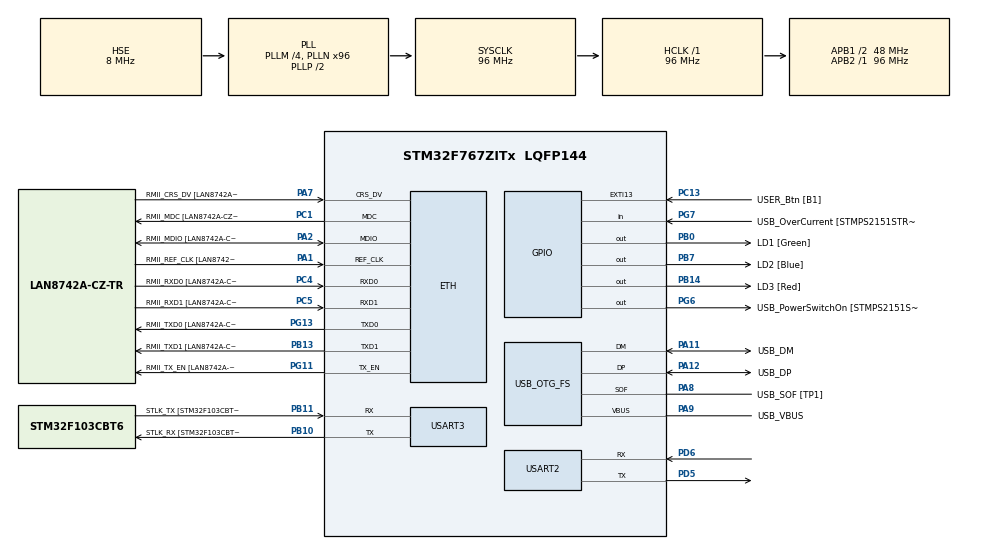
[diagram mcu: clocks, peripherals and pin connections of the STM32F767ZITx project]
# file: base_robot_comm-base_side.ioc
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ETH.MediaInterface=HAL_ETH_RMII_MODE
ETH.PHY_Name=LAN8742A_PHY_ADDRESS
ETH.PHY_Value=0
ETH.PhyAddress=0
Mcu.Family=STM32F7
Mcu.Name=STM32F767ZITx
Mcu.Package=LQFP144
NVIC.PriorityGroup=NVIC_PRIORITYGROUP_4
NVIC.USART2_IRQn=true\:0\:0\:false\:false\:true\:true\:true\:true
NVIC.USART3_IRQn=true\:0\:0\:false\:false\:true\:true\:true\:true
PA1.GPIO_Label=RMII_REF_CLK [LAN8742A-CZ-TR_REFCLK0]
PA1.Mode=RMII
PA1.Signal=ETH_REF_CLK
PA10.GPIO_Label=USB_ID
PA10.Signal=USB_OTG_FS_ID
PA11.GPIO_Label=USB_DM
PA11.Mode=Device_Only
PA11.Signal=USB_OTG_FS_DM
PA12.GPIO_Label=USB_DP
PA12.Mode=Device_Only
PA12.Signal=USB_OTG_FS_DP
PA13.GPIO_Label=TMS
PA13.Mode=Serial_Wire
PA13.Signal=SYS_JTMS-SWDIO
PA14.GPIO_Label=TCK
PA14.Mode=Serial_Wire
PA14.Signal=SYS_JTCK-SWCLK
PA2.GPIO_Label=RMII_MDIO [LAN8742A-CZ-TR_MDIO]
PA2.Mode=RMII
PA2.Signal=ETH_MDIO
PA7.GPIO_Label=RMII_CRS_DV [LAN8742A-CZ-TR_CRS_DV]
PA7.Mode=RMII
PA7.Signal=ETH_CRS_DV
PA8.GPIO_Label=USB_SOF [TP1]
PA8.Mode=Activate_SOF_FS
PA8.Signal=USB_OTG_FS_SOF
PA9.GPIO_Label=USB_VBUS
PA9.Mode=Activate_VBUS
PA9.Signal=USB_OTG_FS_VBUS
PB0.GPIO_Label=LD1 [Green]
PB0.Signal=GPIO_Output
PB10.GPIO_Label=STLK_RX [STM32F103CBT6_PA3]
PB10.Mode=Asynchronous
PB10.Signal=USART3_TX
PB11.GPIO_Label=STLK_TX [STM32F103CBT6_PA2]
PB11.Mode=Asynchronous
PB11.Signal=USART3_RX
PB13.GPIO_Label=RMII_TXD1 [LAN8742A-CZ-TR_TXD1]
PB13.Mode=RMII
PB13.Signal=ETH_TXD1
PB14.GPIO_Label=LD3 [Red]
PB14.Signal=GPIO_Output
PB3.GPIO_Label=SWO
PB3.Signal=SYS_JTDO-SWO
PB7.GPIO_Label=LD2 [Blue]
PB7.Signal=GPIO_Output
PC1.GPIO_Label=RMII_MDC [LAN8742A-CZ-TR_MDC]
PC1.Mode=RMII
PC1.Signal=ETH_MDC
PC13.GPIO_Label=USER_Btn [B1]
PC13.Signal=GPXTI13
PC14/OSC32_IN.Mode=LSE-External-Oscillator
PC14/OSC32_IN.Signal=RCC_OSC32_IN
PC15/OSC32_OUT.Mode=LSE-External-Oscillator
PC15/OSC32_OUT.Signal=RCC_OSC32_OUT
PC4.GPIO_Label=RMII_RXD0 [LAN8742A-CZ-TR_RXD0]
PC4.Mode=RMII
PC4.Signal=ETH_RXD0
PC5.GPIO_Label=RMII_RXD1 [LAN8742A-CZ-TR_RXD1]
PC5.Mode=RMII
PC5.Signal=ETH_RXD1
PD5.Mode=Asynchronous
PD5.Signal=USART2_TX
PD6.Mode=Asynchronous
PD6.Signal=USART2_RX
PG11.GPIO_Label=RMII_TX_EN [LAN8742A-CZ-TR_TXEN]
PG11.Mode=RMII
PG11.Signal=ETH_TX_EN
PG13.GPIO_Label=RMII_TXD0 [LAN8742A-CZ-TR_TXD0]
PG13.Mode=RMII
PG13.Signal=ETH_TXD0
PG6.GPIO_Label=USB_PowerSwitchOn [STMPS2151STR_EN]
PG6.Signal=GPIO_Output
PG7.GPIO_Label=USB_OverCurrent [STMPS2151STR_FAULT]
PG7.Signal=GPIO_Input
PH0/OSC_IN.GPIO_Label=MCO [STM32F103CBT6_PA8]
PH0/OSC_IN.Mode=HSE-External-Clock-Source
PH0/OSC_IN.Signal=RCC_OSC_IN
PH1/OSC_OUT.Mode=HSE-External-Clock-Source
PH1/OSC_OUT.Signal=RCC_OSC_OUT
ProjectManager.HeapSize=0x200
ProjectManager.StackSize=0x400
ProjectManager.TargetToolchain=STM32CubeIDE
RCC.48MHZClocksFreq_Value=24000000
RCC.AHBFreq_Value=96000000
RCC.APB1CLKDivider=RCC_HCLK_DIV2
RCC.APB1Freq_Value=48000000
RCC.APB1TimFreq_Value=96000000
RCC.APB2Freq_Value=96000000
RCC.APB2TimFreq_Value=96000000
RCC.CortexFreq_Value=96000000
RCC.HCLKFreq_Value=96000000
RCC.HSE_VALUE=8000000
RCC.HSI_VALUE=16000000
RCC.PLLM=4
RCC.PLLMUL=RCC_PLL_MUL9
RCC.PLLN=96
RCC.PLLQ=4
RCC.PRESCALERUSB=RCC_USBCLKSOURCE_PLL_DIV1_5
RCC.SYSCLKFreq_VALUE=96000000
RCC.SYSCLKSource=RCC_SYSCLKSOURCE_PLLCLK
RCC.SYSCLKSourceVirtual=RCC_SYSCLKSOURCE_PLLCLK
RCC.USBFreq_Value=48000000
RCC.VCOOutputFreq_Value=192000000
USART2.VirtualMode-Asynchronous=VM_ASYNC
USART3.VirtualMode-Asynchronous=VM_ASYNC
USB_OTG_FS.VirtualMode=Device_Only
board=NUCLEO-F767ZI

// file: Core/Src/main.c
/* USER CODE BEGIN Header */
/**
  ******************************************************************************
  * @file           : main.c
  * @brief          : Main program body
  ******************************************************************************
  * @attention
  *
  * Copyright (c) 2025 STMicroelectronics.
  * All rights reserved.
  *
  * This software is licensed under terms that can be found in the LICENSE file
  * in the root directory of this software component.
  * If no LICENSE file comes with this software, it is provided AS-IS.
  *
  ******************************************************************************
  */
/* USER CODE END Header */
#include "main.h"
#include "string.h"

/* USER CODE BEGIN PD */
#define BUFFER_SIZE 8
#define ROBOT_STATE_BUSY 0
#define ROBOT_STATE_READY 1
#define JETSON_STATE_BUSY 0
#define JETSON_STATE_READY 1
/* USER CODE END PD */

#if defined ( __ICCARM__ ) /*!< IAR Compiler */
#pragma location=0x2007c000
ETH_DMADescTypeDef  DMARxDscrTab[ETH_RX_DESC_CNT]; /* Ethernet Rx DMA Descriptors */
#pragma location=0x2007c0a0
ETH_DMADescTypeDef  DMATxDscrTab[ETH_TX_DESC_CNT]; /* Ethernet Tx DMA Descriptors */

#elif defined ( __CC_ARM )  /* MDK ARM Compiler */

__attribute__((at(0x2007c000))) ETH_DMADescTypeDef  DMARxDscrTab[ETH_RX_DESC_CNT]; /* Ethernet Rx DMA Descriptors */
__attribute__((at(0x2007c0a0))) ETH_DMADescTypeDef  DMATxDscrTab[ETH_TX_DESC_CNT]; /* Ethernet Tx DMA Descriptors */

#elif defined ( __GNUC__ ) /* GNU Compiler */

ETH_DMADescTypeDef DMARxDscrTab[ETH_RX_DESC_CNT] __attribute__((section(".RxDecripSection"))); /* Ethernet Rx DMA Descriptors */
ETH_DMADescTypeDef DMATxDscrTab[ETH_TX_DESC_CNT] __attribute__((section(".TxDecripSection")));   /* Ethernet Tx DMA Descriptors */
#endif

ETH_TxPacketConfig TxConfig;

ETH_HandleTypeDef heth;

UART_HandleTypeDef huart2;
UART_HandleTypeDef huart3;

PCD_HandleTypeDef hpcd_USB_OTG_FS;

/* USER CODE BEGIN PV */

uint8_t robot_rx_buffer [BUFFER_SIZE] = {0};  // RX Buffer (for communication with Robot)
uint8_t robot_tx_buffer [BUFFER_SIZE] = {0};  // TX Buffer (for communication with Robot)
uint8_t jetson_rx_buffer [BUFFER_SIZE] = {0};  // RX Buffer (for communication with Jetson)
uint8_t jetson_tx_buffer [BUFFER_SIZE] = {0};  // TX Buffer (for communication with Jetson)
volatile uint8_t robot_state = ROBOT_STATE_READY;  // State of the robot (initialize to ready)
volatile uint8_t jetson_state = JETSON_STATE_BUSY;  // State of Jetson (initialize to busy)
uint8_t test1 [6] = {'0', '0', 'b', 'r', 'd', 'y'};
uint8_t test2 [6] = {'0', '0', 'l', 'o', 'l', 'e'};

/* USER CODE END PV */

void SystemClock_Config(void);
static void MX_GPIO_Init(void);
static void MX_ETH_Init(void);
static void MX_USART2_UART_Init(void);
static void MX_USART3_UART_Init(void);
static void MX_USB_OTG_FS_PCD_Init(void);
/* USER CODE BEGIN PFP */
void Send_to_Robot (uint8_t addr, uint8_t *data, uint8_t is_ready);
void Receive_from_Robot(void);
void Send_to_Jetson (uint8_t addr, uint8_t *data, uint8_t is_ready);
void Receive_from_Jetson(void);
void Interpret_Commands(uint8_t *rx_buffer);
/* USER CODE END PFP */

/* USER CODE BEGIN 0 */

// Interpret commands
void Interpret_Commands(uint8_t *rx_buffer) {
	if (strstr((const char * ) rx_buffer, "jrdy")) {
		Send_to_Jetson('0', test1, 1);
	}
	if (strstr((const char * ) rx_buffer, "poll")) {
		Send_to_Jetson('0', test2, 1);
	}
}

// Function to send bytes to Robot
void Send_to_Robot (uint8_t addr, uint8_t *data, uint8_t is_ready) {
	while (robot_state != ROBOT_STATE_READY) {}
	// Assign address
	robot_tx_buffer[0] = addr;
	// Assign data (until before the last byte)
	for (int i = 1; i < BUFFER_SIZE - 1; i++) {
		robot_tx_buffer[i] = data[i - 1];
	}
	// Assign status byte
	if (is_ready) {
		robot_tx_buffer[BUFFER_SIZE - 1] = 'r';
	}
	else {
		robot_tx_buffer[BUFFER_SIZE - 1] = 'n';
	}
	// Transmit data packet
	HAL_UART_Transmit_IT(&huart2, robot_tx_buffer, BUFFER_SIZE);
}

// Function to Receive bytes from Robot
void Receive_from_Robot(void) {
	HAL_UART_Receive_IT(&huart2, robot_rx_buffer, BUFFER_SIZE);
}

// Function to send bytes from Jetson
void Send_to_Jetson (uint8_t addr, uint8_t *data, uint8_t is_ready) {
	while (jetson_state != JETSON_STATE_READY) {}
		// Assign address
		jetson_tx_buffer[0] = addr;
		// Assign data (until before the last byte)
		for (int i = 1; i < BUFFER_SIZE - 1; i++) {
			jetson_tx_buffer[i] = data[i - 1];
		}
		// Assign status byte
		if (is_ready) {
			jetson_tx_buffer[BUFFER_SIZE - 1] = 'r';
		}
		else {
			jetson_tx_buffer[BUFFER_SIZE - 1] = 'n';
		}
		// Transmit data packet
		HAL_UART_Transmit_IT(&huart3, jetson_tx_buffer, BUFFER_SIZE);
}

// Function to send bytes to Jetson
void Receive_from_Jetson(void) {
	HAL_UART_Receive_IT(&huart3, jetson_rx_buffer, BUFFER_SIZE);
}

// Callback function after transmitting data
void HAL_UART_TxCpltCallback(UART_HandleTypeDef *huart) {
	if (huart->Instance == huart2.Instance) {
		// Transmission fully complete, now wait until robot sends data
		robot_state = ROBOT_STATE_BUSY;
		Receive_from_Robot();
	}
	if (huart->Instance == huart3.Instance) {
		jetson_state = JETSON_STATE_BUSY;
		Receive_from_Jetson();
	}
}

// Callback function after receiving data
void HAL_UART_RxCpltCallback(UART_HandleTypeDef *huart) {
	if (huart->Instance == huart2.Instance) {
		// Ready?
		if (robot_rx_buffer[BUFFER_SIZE - 1] == 'r') {
			robot_state = ROBOT_STATE_READY;
		}
		// Who is this for?
		switch (robot_rx_buffer[0]) {
		// For Jetson
		case '0':
			Send_to_Jetson(robot_rx_buffer[0], robot_rx_buffer + 1, robot_rx_buffer[BUFFER_SIZE - 1]);
			break;
		// For Base (here!)
		case '1':
			// Keep listening to Jetson
			Receive_from_Jetson();
			// Interpret commands
			Interpret_Commands(robot_rx_buffer);
			break;
		// Anything else
		default:
			break;
		}
		// Keep listening to robot
		Receive_from_Robot();
	}
	if (huart->Instance == huart3.Instance) {
		// Ready?
		if (jetson_rx_buffer[BUFFER_SIZE - 1] == 'r') {
			jetson_state = JETSON_STATE_READY;
		}
		// Who is this for?
		switch (jetson_rx_buffer[0]) {
		// For Base (here!)
		case '1':
			// Keep listening to robot
			Receive_from_Robot();
			// Interpret commands
			Interpret_Commands(jetson_rx_buffer);
			break;
		case '2':
			Send_to_Robot(jetson_rx_buffer[0], jetson_rx_buffer + 1, jetson_rx_buffer[BUFFER_SIZE - 1]);
			break;
		// Anything else
		default:
			break;
		}
		// Keep listening to Jetson
		Receive_from_Jetson();
	}
}

/* USER CODE END 0 */

int main(void)
{

  /* MCU Configuration--------------------------------------------------------*/

  /* Reset of all peripherals, Initializes the Flash interface and the Systick. */
  HAL_Init();

  /* Configure the system clock */
  SystemClock_Config();

  /* Initialize all configured peripherals */
  MX_GPIO_Init();
  MX_ETH_Init();
  MX_USART2_UART_Init();
  MX_USART3_UART_Init();
  MX_USB_OTG_FS_PCD_Init();
  /* USER CODE BEGIN 2 */

  // Start off by receiving from Jetson
  Receive_from_Jetson();

  /* USER CODE END 2 */

  /* Infinite loop */
  while (1)
  {

    /* USER CODE BEGIN 3 */
	  // Display TX_State
//	  HAL_GPIO_WritePin(GPIOB, GPIO_PIN_7, (tx_state << 1) >> 1);
//	  HAL_GPIO_WritePin(GPIOB, GPIO_PIN_14, tx_state >> 1);

	  // Display Robot State
//	  HAL_GPIO_WritePin(GPIOB, GPIO_PIN_0, robot_state);

	  // Turn on LED on other board
//	  Send_to_Jetson(0, test2, 1);
	  HAL_Delay(2000);

	  // Wait some time

  }
  /* USER CODE END 3 */
}

void SystemClock_Config(void)
{
  RCC_OscInitTypeDef RCC_OscInitStruct = {0};
  RCC_ClkInitTypeDef RCC_ClkInitStruct = {0};

  /** Configure LSE Drive Capability
  */
  HAL_PWR_EnableBkUpAccess();

  /** Configure the main internal regulator output voltage
  */
  __HAL_RCC_PWR_CLK_ENABLE();
  __HAL_PWR_VOLTAGESCALING_CONFIG(PWR_REGULATOR_VOLTAGE_SCALE3);

  /** Initializes the RCC Oscillators according to the specified parameters
  * in the RCC_OscInitTypeDef structure.
  */
  RCC_OscInitStruct.OscillatorType = RCC_OSCILLATORTYPE_HSE;
  RCC_OscInitStruct.HSEState = RCC_HSE_BYPASS;
  RCC_OscInitStruct.PLL.PLLState = RCC_PLL_ON;
  RCC_OscInitStruct.PLL.PLLSource = RCC_PLLSOURCE_HSE;
  RCC_OscInitStruct.PLL.PLLM = 4;
  RCC_OscInitStruct.PLL.PLLN = 96;
  RCC_OscInitStruct.PLL.PLLP = RCC_PLLP_DIV2;
  RCC_OscInitStruct.PLL.PLLQ = 4;
  RCC_OscInitStruct.PLL.PLLR = 2;
  if (HAL_RCC_OscConfig(&RCC_OscInitStruct) != HAL_OK)
  {
    Error_Handler();
  }

  /** Activate the Over-Drive mode
  */
  if (HAL_PWREx_EnableOverDrive() != HAL_OK)
  {
    Error_Handler();
  }

  /** Initializes the CPU, AHB and APB buses clocks
  */
  RCC_ClkInitStruct.ClockType = RCC_CLOCKTYPE_HCLK|RCC_CLOCKTYPE_SYSCLK
                              |RCC_CLOCKTYPE_PCLK1|RCC_CLOCKTYPE_PCLK2;
  RCC_ClkInitStruct.SYSCLKSource = RCC_SYSCLKSOURCE_PLLCLK;
  RCC_ClkInitStruct.AHBCLKDivider = RCC_SYSCLK_DIV1;
  RCC_ClkInitStruct.APB1CLKDivider = RCC_HCLK_DIV2;
  RCC_ClkInitStruct.APB2CLKDivider = RCC_HCLK_DIV1;

  if (HAL_RCC_ClockConfig(&RCC_ClkInitStruct, FLASH_LATENCY_3) != HAL_OK)
  {
    Error_Handler();
  }
}

static void MX_ETH_Init(void)
{

   static uint8_t MACAddr[6];

  heth.Instance = ETH;
  MACAddr[0] = 0x00;
  MACAddr[1] = 0x80;
  MACAddr[2] = 0xE1;
  MACAddr[3] = 0x00;
  MACAddr[4] = 0x00;
  MACAddr[5] = 0x00;
  heth.Init.MACAddr = &MACAddr[0];
  heth.Init.MediaInterface = HAL_ETH_RMII_MODE;
  heth.Init.TxDesc = DMATxDscrTab;
  heth.Init.RxDesc = DMARxDscrTab;
  heth.Init.RxBuffLen = 1524;

  if (HAL_ETH_Init(&heth) != HAL_OK)
  {
    Error_Handler();
  }

  memset(&TxConfig, 0 , sizeof(ETH_TxPacketConfig));
  TxConfig.Attributes = ETH_TX_PACKETS_FEATURES_CSUM | ETH_TX_PACKETS_FEATURES_CRCPAD;
  TxConfig.ChecksumCtrl = ETH_CHECKSUM_IPHDR_PAYLOAD_INSERT_PHDR_CALC;
  TxConfig.CRCPadCtrl = ETH_CRC_PAD_INSERT;

}

static void MX_USART2_UART_Init(void)
{

  huart2.Instance = USART2;
  huart2.Init.BaudRate = 115200;
  huart2.Init.WordLength = UART_WORDLENGTH_8B;
  huart2.Init.StopBits = UART_STOPBITS_1;
  huart2.Init.Parity = UART_PARITY_NONE;
  huart2.Init.Mode = UART_MODE_TX_RX;
  huart2.Init.HwFlowCtl = UART_HWCONTROL_NONE;
  huart2.Init.OverSampling = UART_OVERSAMPLING_16;
  huart2.Init.OneBitSampling = UART_ONE_BIT_SAMPLE_DISABLE;
  huart2.AdvancedInit.AdvFeatureInit = UART_ADVFEATURE_NO_INIT;
  if (HAL_UART_Init(&huart2) != HAL_OK)
  {
    Error_Handler();
  }

}

static void MX_USART3_UART_Init(void)
{

  huart3.Instance = USART3;
  huart3.Init.BaudRate = 115200;
  huart3.Init.WordLength = UART_WORDLENGTH_8B;
  huart3.Init.StopBits = UART_STOPBITS_1;
  huart3.Init.Parity = UART_PARITY_NONE;
  huart3.Init.Mode = UART_MODE_TX_RX;
  huart3.Init.HwFlowCtl = UART_HWCONTROL_NONE;
  huart3.Init.OverSampling = UART_OVERSAMPLING_16;
  huart3.Init.OneBitSampling = UART_ONE_BIT_SAMPLE_DISABLE;
  huart3.AdvancedInit.AdvFeatureInit = UART_ADVFEATURE_NO_INIT;
  if (HAL_UART_Init(&huart3) != HAL_OK)
  {
    Error_Handler();
  }

}

static void MX_USB_OTG_FS_PCD_Init(void)
{

  hpcd_USB_OTG_FS.Instance = USB_OTG_FS;
  hpcd_USB_OTG_FS.Init.dev_endpoints = 6;
  hpcd_USB_OTG_FS.Init.speed = PCD_SPEED_FULL;
  hpcd_USB_OTG_FS.Init.dma_enable = DISABLE;
  hpcd_USB_OTG_FS.Init.phy_itface = PCD_PHY_EMBEDDED;
  hpcd_USB_OTG_FS.Init.Sof_enable = ENABLE;
  hpcd_USB_OTG_FS.Init.low_power_enable = DISABLE;
  hpcd_USB_OTG_FS.Init.lpm_enable = DISABLE;
  hpcd_USB_OTG_FS.Init.vbus_sensing_enable = ENABLE;
  hpcd_USB_OTG_FS.Init.use_dedicated_ep1 = DISABLE;
  if (HAL_PCD_Init(&hpcd_USB_OTG_FS) != HAL_OK)
  {
    Error_Handler();
  }

}

static void MX_GPIO_Init(void)
{
  GPIO_InitTypeDef GPIO_InitStruct = {0};

  /* GPIO Ports Clock Enable */
  __HAL_RCC_GPIOC_CLK_ENABLE();
  __HAL_RCC_GPIOH_CLK_ENABLE();
  __HAL_RCC_GPIOA_CLK_ENABLE();
  __HAL_RCC_GPIOB_CLK_ENABLE();
  __HAL_RCC_GPIOG_CLK_ENABLE();
  __HAL_RCC_GPIOD_CLK_ENABLE();

  /*Configure GPIO pin Output Level */
  HAL_GPIO_WritePin(GPIOB, LD1_Pin|LD3_Pin|LD2_Pin, GPIO_PIN_RESET);

  /*Configure GPIO pin Output Level */
  HAL_GPIO_WritePin(USB_PowerSwitchOn_GPIO_Port, USB_PowerSwitchOn_Pin, GPIO_PIN_RESET);

  /*Configure GPIO pin : USER_Btn_Pin */
  GPIO_InitStruct.Pin = USER_Btn_Pin;
  GPIO_InitStruct.Mode = GPIO_MODE_IT_RISING;
  GPIO_InitStruct.Pull = GPIO_NOPULL;
  HAL_GPIO_Init(USER_Btn_GPIO_Port, &GPIO_InitStruct);

  /*Configure GPIO pins : LD1_Pin LD3_Pin LD2_Pin */
  GPIO_InitStruct.Pin = LD1_Pin|LD3_Pin|LD2_Pin;
  GPIO_InitStruct.Mode = GPIO_MODE_OUTPUT_PP;
  GPIO_InitStruct.Pull = GPIO_NOPULL;
  GPIO_InitStruct.Speed = GPIO_SPEED_FREQ_LOW;
  HAL_GPIO_Init(GPIOB, &GPIO_InitStruct);

  /*Configure GPIO pin : USB_PowerSwitchOn_Pin */
  GPIO_InitStruct.Pin = USB_PowerSwitchOn_Pin;
  GPIO_InitStruct.Mode = GPIO_MODE_OUTPUT_PP;
  GPIO_InitStruct.Pull = GPIO_NOPULL;
  GPIO_InitStruct.Speed = GPIO_SPEED_FREQ_LOW;
  HAL_GPIO_Init(USB_PowerSwitchOn_GPIO_Port, &GPIO_InitStruct);

  /*Configure GPIO pin : USB_OverCurrent_Pin */
  GPIO_InitStruct.Pin = USB_OverCurrent_Pin;
  GPIO_InitStruct.Mode = GPIO_MODE_INPUT;
  GPIO_InitStruct.Pull = GPIO_NOPULL;
  HAL_GPIO_Init(USB_OverCurrent_GPIO_Port, &GPIO_InitStruct);

}

void Error_Handler(void)
{
  __disable_irq();
  while (1)
  {
  }
}
